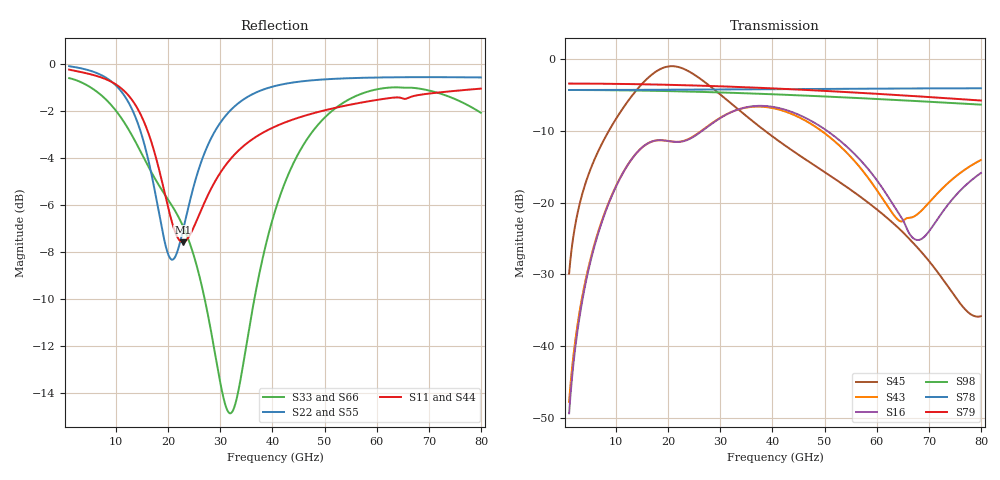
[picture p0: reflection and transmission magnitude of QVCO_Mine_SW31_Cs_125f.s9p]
! Touchstone Ver. 1.0
! Number of ports is 9
# Hz	S	RI	R	50.000000
! SCATTERING PARAMETERS  :
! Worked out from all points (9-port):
!   1001 points, 1 GHz to 80 GHz, reference 50 ohm
!   strongest paths, dB at 1 GHz, 20.75 GHz, 40.5 GHz, 60.25 GHz, 80 GHz:
!     S79: -3.4, -3.6, -4.1, -4.8, -5.8
!     S78: -4.3, -4.2, -4.2, -4.1, -4.0
!     S98: -4.3, -4.4, -4.9, -5.5, -6.3
!     S16: -49.4, -11.5, -6.7, -17.1, -15.9
!     S43: -47.8, -11.5, -6.9, -18.5, -14.0
!     S45: -29.9, -1.0, -11.0, -21.1, -35.9
!   lowest |S11| = -7.6 dB at 22.8 GHz (marker M1), VSWR 2.43, Z = 39.5 + j39.5 ohm
!   |S11| at or under -10 dB: nowhere
